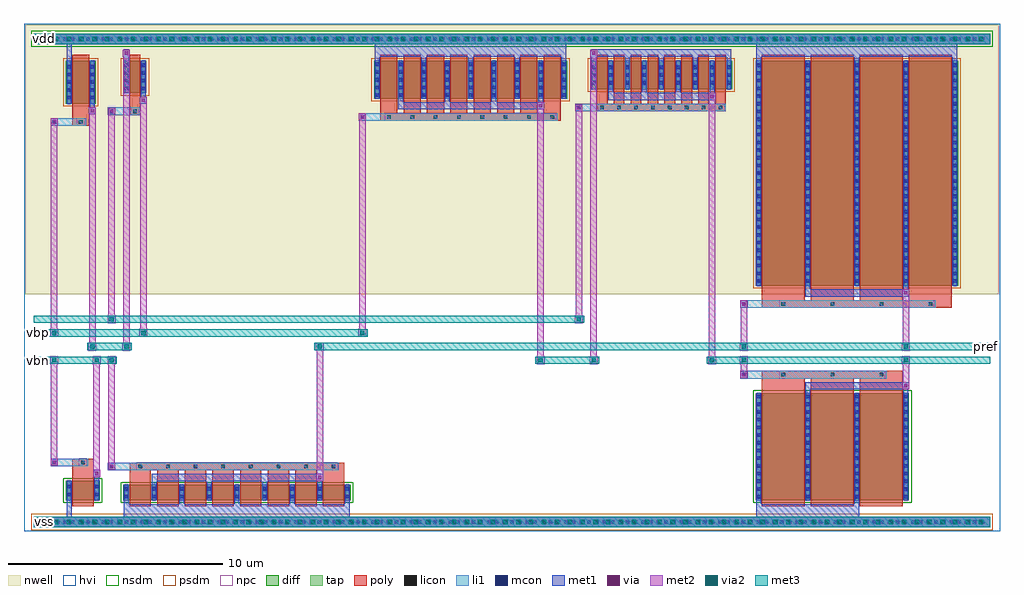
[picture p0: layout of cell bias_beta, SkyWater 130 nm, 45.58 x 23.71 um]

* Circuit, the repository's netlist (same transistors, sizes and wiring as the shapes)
.subckt bias_beta vbn vbp vbpc pref nref vdd vss
MXBN vbn vbn vss vss nfet_g5v0d10v5 w=0.9u l=1u
MXMbn pref vbn vss vss nfet_g5v0d10v5 w=5.72u l=1u
MXMNref nref nref vss vss nfet_g5v0d10v5 w=15u l=2u
MXBP x vbp vdd vdd pfet_g5v0d10v5 w=2u l=0.8u
MXBPC vbp vbpc x vdd pfet_g5v0d10v5 w=1.5u l=0.5u
MXMbp bx vbp vdd vdd pfet_g5v0d10v5 w=14.12u l=0.8u
MXMbpc nref vbpc bx vdd pfet_g5v0d10v5 w=10.6u l=0.5u
MXMPref pref pref vdd vdd pfet_g5v0d10v5 w=42u l=2u
.ends bias_beta

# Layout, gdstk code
import gdstk
lib = gdstk.Library(unit=1e-6, precision=1e-09)
def R(c, l, rs):  # rectangles x0, y0, x1, y1
    for r in rs: c.add(gdstk.rectangle(r[:2], r[2:], *l))
def A(c, l, x, y, w, h, nx, ny, dx, dy):  # array of equal rectangles
    R(c, l, [(x+i*dx, y+j*dy, x+i*dx+w, y+j*dy+h) for i in range(nx) for j in range(ny)])
nwell = (64, 20)
diff = (65, 20)
tap = (65, 44)
poly = (66, 20)
licon = (66, 44)
li1 = (67, 20)
mcon = (67, 44)
met1 = (68, 20)
via = (68, 44)
met2 = (69, 20)
via2 = (69, 44)
met3 = (70, 20)
hvi = (75, 20)
nsdm = (93, 44)
psdm = (94, 20)
npc = (95, 20)

bias_beta_p0_xbp = lib.new_cell('bias_beta_p0_XBP')
R(bias_beta_p0_xbp, diff, [(0,0.72,1.38,2.72)])
R(bias_beta_p0_xbp, poly, [(0.29,0.435,1.09,3.005), (0.29,2.72,1.09,3.58), (0.29,3.4,1.09,3.76)])
A(bias_beta_p0_xbp, licon, 0.06, 0.915, 0.17, 0.17, 1, 5, 0, 0.36)
A(bias_beta_p0_xbp, licon, 1.15, 0.915, 0.17, 0.17, 1, 5, 0, 0.36)
R(bias_beta_p0_xbp, licon, [(0.605,3.495,0.775,3.665)])
R(bias_beta_p0_xbp, li1, [(0.06,0.7,0.23,2.74), (1.15,0.7,1.32,2.74), (0.44,3.4,0.94,3.76)])
A(bias_beta_p0_xbp, mcon, 0.06, 0.915, 0.17, 0.17, 1, 5, 0, 0.36)
A(bias_beta_p0_xbp, mcon, 1.15, 0.915, 0.17, 0.17, 1, 5, 0, 0.36)
R(bias_beta_p0_xbp, met1, [(0.03,0.19,0.26,0.72), (0.03,0.19,0.26,0.53), (0.03,0.72,0.26,2.72), (1.12,0.72,1.35,2.72), (1.12,2.72,1.35,3.23), (1.12,2.89,1.35,3.23)])
R(bias_beta_p0_xbp, psdm, [(-0.125,0.595,1.505,2.845)])
R(bias_beta_p0_xbp, npc, [(0.505,3.395,0.875,3.765)])

bias_beta_p1_xbpc = lib.new_cell('bias_beta_p1_XBPC')
R(bias_beta_p1_xbpc, diff, [(0,0.72,1.08,2.22)])
R(bias_beta_p1_xbpc, poly, [(0.29,0.435,0.79,2.505), (0.29,2.22,0.79,3.08), (0.29,2.9,0.79,3.26)])
A(bias_beta_p1_xbpc, licon, 0.06, 0.845, 0.17, 0.17, 1, 4, 0, 0.36)
A(bias_beta_p1_xbpc, licon, 0.85, 0.845, 0.17, 0.17, 1, 4, 0, 0.36)
R(bias_beta_p1_xbpc, licon, [(0.455,2.995,0.625,3.165)])
R(bias_beta_p1_xbpc, li1, [(0.06,0.7,0.23,2.24), (0.85,0.7,1.02,2.24), (0.29,2.9,0.79,3.26)])
A(bias_beta_p1_xbpc, mcon, 0.06, 0.845, 0.17, 0.17, 1, 4, 0, 0.36)
A(bias_beta_p1_xbpc, mcon, 0.85, 0.845, 0.17, 0.17, 1, 4, 0, 0.36)
R(bias_beta_p1_xbpc, met1, [(0.03,0.19,0.26,0.72), (0.03,0.19,0.26,0.53), (0.03,0.72,0.26,2.22), (0.82,0.72,1.05,2.22), (0.82,2.22,1.05,2.73), (0.82,2.39,1.05,2.73)])
R(bias_beta_p1_xbpc, psdm, [(-0.125,0.595,1.205,2.345)])
R(bias_beta_p1_xbpc, npc, [(0.355,2.895,0.725,3.265)])

bias_beta_p2_xmbp = lib.new_cell('bias_beta_p2_XMbp')
R(bias_beta_p2_xmbp, diff, [(0,0.72,9.01,2.485)])
A(bias_beta_p2_xmbp, poly, 0.29, 0.435, 0.8, 2.335, 8, 1, 1.09, 0)
A(bias_beta_p2_xmbp, poly, 0.29, 2.485, 0.8, 0.86, 8, 1, 1.09, 0)
R(bias_beta_p2_xmbp, poly, [(0.29,3.165,8.72,3.525)])
A(bias_beta_p2_xmbp, licon, 0.06, 0.8, 0.17, 0.17, 9, 5, 1.09, 0.36)
A(bias_beta_p2_xmbp, licon, 0.605, 3.26, 0.17, 0.17, 8, 1, 1.09, 0)
A(bias_beta_p2_xmbp, li1, 0.06, 0.7, 0.17, 1.805, 9, 1, 1.09, 0)
R(bias_beta_p2_xmbp, li1, [(0.44,3.165,8.57,3.525)])
A(bias_beta_p2_xmbp, mcon, 0.06, 0.8, 0.17, 0.17, 9, 5, 1.09, 0.36)
A(bias_beta_p2_xmbp, met1, 0.03, 0.19, 0.23, 0.53, 5, 1, 2.18, 0)
A(bias_beta_p2_xmbp, met1, 0.03, 0.72, 0.23, 1.765, 9, 1, 1.09, 0)
A(bias_beta_p2_xmbp, met1, 1.12, 2.485, 0.23, 0.51, 4, 1, 2.18, 0)
R(bias_beta_p2_xmbp, met1, [(0.03,0.19,8.98,0.53), (1.12,2.655,7.89,2.995)])
R(bias_beta_p2_xmbp, psdm, [(-0.125,0.595,9.135,2.61)])
R(bias_beta_p2_xmbp, npc, [(0.505,3.16,8.505,3.53)])

bias_beta_p3_xmbpc = lib.new_cell('bias_beta_p3_XMbpc')
R(bias_beta_p3_xmbpc, diff, [(0,0.72,6.61,2.045)])
A(bias_beta_p3_xmbpc, poly, 0.29, 0.435, 0.5, 1.895, 8, 1, 0.79, 0)
A(bias_beta_p3_xmbpc, poly, 0.29, 2.045, 0.5, 0.86, 8, 1, 0.79, 0)
R(bias_beta_p3_xmbpc, poly, [(0.29,2.725,6.32,3.085)])
A(bias_beta_p3_xmbpc, licon, 0.06, 0.94, 0.17, 0.17, 9, 3, 0.79, 0.36)
A(bias_beta_p3_xmbpc, licon, 0.455, 2.82, 0.17, 0.17, 8, 1, 0.79, 0)
A(bias_beta_p3_xmbpc, li1, 0.06, 0.7, 0.17, 1.365, 9, 1, 0.79, 0)
R(bias_beta_p3_xmbpc, li1, [(0.29,2.725,6.32,3.085)])
A(bias_beta_p3_xmbpc, mcon, 0.06, 0.94, 0.17, 0.17, 9, 3, 0.79, 0.36)
A(bias_beta_p3_xmbpc, met1, 0.03, 0.19, 0.23, 0.53, 5, 1, 1.58, 0)
A(bias_beta_p3_xmbpc, met1, 0.03, 0.72, 0.23, 1.325, 9, 1, 0.79, 0)
A(bias_beta_p3_xmbpc, met1, 0.82, 2.045, 0.23, 0.51, 4, 1, 1.58, 0)
R(bias_beta_p3_xmbpc, met1, [(0.03,0.19,6.58,0.53), (0.82,2.215,5.79,2.555)])
R(bias_beta_p3_xmbpc, psdm, [(-0.125,0.595,6.735,2.17)])
R(bias_beta_p3_xmbpc, npc, [(0.355,2.72,6.255,3.09)])

bias_beta_p4_xmpref = lib.new_cell('bias_beta_p4_XMPref')
R(bias_beta_p4_xmpref, diff, [(0,0.72,9.45,11.22)])
A(bias_beta_p4_xmpref, poly, 0.29, 0.435, 2, 11.07, 4, 1, 2.29, 0)
A(bias_beta_p4_xmpref, poly, 0.29, 11.22, 2, 0.86, 4, 1, 2.29, 0)
R(bias_beta_p4_xmpref, poly, [(0.29,11.9,9.16,12.26)])
A(bias_beta_p4_xmpref, licon, 0.06, 0.845, 0.17, 0.17, 5, 29, 2.29, 0.36)
A(bias_beta_p4_xmpref, licon, 1.205, 11.995, 0.17, 0.17, 4, 1, 2.29, 0)
A(bias_beta_p4_xmpref, li1, 0.06, 0.7, 0.17, 10.54, 5, 1, 2.29, 0)
R(bias_beta_p4_xmpref, li1, [(1.04,11.9,8.41,12.26)])
A(bias_beta_p4_xmpref, mcon, 0.06, 0.845, 0.17, 0.17, 5, 29, 2.29, 0.36)
A(bias_beta_p4_xmpref, met1, 0.03, 0.19, 0.23, 0.53, 3, 1, 4.58, 0)
A(bias_beta_p4_xmpref, met1, 0.03, 0.72, 0.23, 10.5, 5, 1, 2.29, 0)
R(bias_beta_p4_xmpref, met1, [(0.03,0.19,9.42,0.53), (2.32,11.22,2.55,11.73), (6.9,11.22,7.13,11.73), (2.32,11.39,7.13,11.73)])
R(bias_beta_p4_xmpref, psdm, [(-0.125,0.595,9.575,11.345)])
R(bias_beta_p4_xmpref, npc, [(1.105,11.895,8.345,12.265)])

bias_beta = lib.new_cell('bias_beta')
R(bias_beta, nwell, [(0.06,11.075,45.52,23.645)])
R(bias_beta, diff, [(1.96,1.455,3.54,2.355), (4.64,1.455,15.25,2.17), (34.17,1.455,41.33,6.455)])
R(bias_beta, tap, [(0.46,0.185,45.12,0.685), (0.46,22.745,45.12,23.245)])
A(bias_beta, poly, 4.93, 1.17, 1, 1.285, 8, 1, 1.29, 0)
A(bias_beta, poly, 34.46, 1.17, 2, 5.57, 3, 1, 2.29, 0)
A(bias_beta, poly, 4.93, 2.17, 1, 0.86, 8, 1, 1.29, 0)
A(bias_beta, poly, 34.46, 6.455, 2, 0.86, 3, 1, 2.29, 0)
R(bias_beta, poly, [(2.25,1.17,3.25,2.64), (2.25,2.355,3.25,3.215), (4.93,2.85,14.96,3.21), (2.25,3.035,3.25,3.395), (34.46,7.135,41.04,7.495)])
A(bias_beta, licon, 0.745, 0.35, 0.17, 0.17, 123, 2, 0.36, 22.56)
A(bias_beta, licon, 34.23, 1.53, 0.17, 0.17, 4, 14, 2.29, 0.36)
A(bias_beta, licon, 4.7, 1.545, 0.17, 0.17, 9, 2, 1.29, 0.36)
A(bias_beta, licon, 5.345, 2.945, 0.17, 0.17, 8, 1, 1.29, 0)
A(bias_beta, licon, 35.375, 7.23, 0.17, 0.17, 3, 1, 2.29, 0)
R(bias_beta, licon, [(2.02,1.64,2.19,1.81), (3.31,1.64,3.48,1.81), (2.02,2,2.19,2.17), (3.31,2,3.48,2.17), (2.665,3.13,2.835,3.3)])
A(bias_beta, li1, 4.7, 1.435, 0.17, 0.755, 9, 1, 1.29, 0)
A(bias_beta, li1, 34.23, 1.435, 0.17, 5.04, 4, 1, 2.29, 0)
R(bias_beta, li1, [(0.46,0.185,45.12,0.685), (2.02,1.435,2.19,2.375), (3.31,1.435,3.48,2.375), (3.92,2.85,5.43,3.21), (5.18,2.85,14.71,3.21), (1.24,3.035,2.75,3.395), (2.5,3.035,3,3.395), (33.45,7.135,35.46,7.495), (35.21,7.135,40.29,7.495), (33.45,10.435,35.46,10.795), (1.24,18.935,2.65,19.295), (15.63,19.17,17.04,19.53), (3.92,19.435,5.18,19.795), (25.74,19.61,27,19.97), (0.46,22.745,45.12,23.245)])
A(bias_beta, mcon, 0.745, 0.35, 0.17, 0.17, 123, 2, 0.36, 22.56)
A(bias_beta, mcon, 34.23, 1.53, 0.17, 0.17, 4, 14, 2.29, 0.36)
A(bias_beta, mcon, 4.7, 1.545, 0.17, 0.17, 9, 2, 1.29, 0.36)
R(bias_beta, mcon, [(2.02,1.64,2.19,1.81), (3.31,1.64,3.48,1.81), (2.02,2,2.19,2.17), (3.31,2,3.48,2.17), (4.005,2.945,4.175,3.115), (1.325,3.13,1.495,3.3), (33.535,7.23,33.705,7.4), (33.535,10.53,33.705,10.7), (1.325,19.03,1.495,19.2), (15.715,19.265,15.885,19.435), (4.005,19.53,4.175,19.7), (25.825,19.705,25.995,19.875)])
A(bias_beta, met1, 4.67, 0.925, 0.23, 0.53, 5, 1, 2.58, 0)
A(bias_beta, met1, 4.67, 1.455, 0.23, 0.715, 9, 1, 1.29, 0)
A(bias_beta, met1, 34.2, 1.455, 0.23, 5, 4, 1, 2.29, 0)
A(bias_beta, met1, 5.96, 2.17, 0.23, 0.51, 4, 1, 2.58, 0)
R(bias_beta, met1, [(0.46,0.185,45.12,0.685), (1.99,0.435,2.22,1.095), (4.67,0.435,15.22,1.095), (34.2,0.435,39.01,1.095), (1.99,0.925,2.22,1.455), (1.99,0.925,2.22,1.265), (4.67,0.925,15.22,1.265), (34.2,0.925,34.43,1.455), (34.2,0.925,39.01,1.265), (38.78,0.925,39.01,1.455), (1.99,1.455,2.22,2.355), (3.28,1.455,3.51,2.355), (5.96,2.34,13.93,2.68), (13.65,2.345,13.98,2.675), (3.28,2.355,3.51,2.865), (3.28,2.525,3.51,2.865), (3.23,2.53,3.56,2.86), (3.92,2.86,4.26,3.2), (1.24,3.045,1.58,3.385), (36.49,6.455,36.72,6.965), (41.07,6.455,41.3,6.965), (36.49,6.625,41.3,6.965), (41.02,6.63,41.35,6.96), (33.45,7.145,33.79,7.485), (33.45,10.445,33.79,10.785), (41.02,10.97,41.35,11.3), (1.24,18.945,1.58,19.285), (15.63,19.18,15.97,19.52), (3.92,19.445,4.26,19.785), (3.03,19.47,3.36,19.8), (25.74,19.62,26.08,19.96), (23.96,19.705,24.29,20.035), (5.41,19.97,5.74,20.3), (31.97,20.145,32.3,20.475), (4.62,22.17,4.95,22.5), (26.44,22.17,26.77,22.5), (1.99,22.335,2.22,22.995), (16.38,22.335,25.33,22.995), (34.2,22.335,43.59,22.995), (0.46,22.745,45.12,23.245)])
A(bias_beta, via, 0.815, 0.36, 0.15, 0.15, 74, 2, 0.6, 22.56)
R(bias_beta, via, [(13.74,2.435,13.89,2.585), (3.32,2.62,3.47,2.77), (4.015,2.955,4.165,3.105), (1.335,3.14,1.485,3.29), (41.11,6.72,41.26,6.87), (33.545,7.24,33.695,7.39), (33.545,10.54,33.695,10.69), (41.11,11.06,41.26,11.21), (1.335,19.04,1.485,19.19), (15.725,19.275,15.875,19.425), (4.015,19.54,4.165,19.69), (3.12,19.56,3.27,19.71), (25.835,19.715,25.985,19.865), (24.05,19.795,24.2,19.945), (5.5,20.06,5.65,20.21), (32.06,20.235,32.21,20.385), (4.71,22.26,4.86,22.41), (26.53,22.26,26.68,22.41)])
R(bias_beta, met2, [(0.46,0.185,45.12,0.685), (13.65,2.345,13.98,2.675), (13.665,2.51,13.965,8.625), (3.23,2.53,3.56,2.86), (3.245,2.695,3.545,7.985), (3.925,2.865,4.255,3.195), (3.94,3.03,4.24,7.985), (1.245,3.05,1.575,3.38), (1.26,3.215,1.56,7.985), (41.02,6.63,41.35,6.96), (41.035,6.795,41.335,7.985), (33.455,7.15,33.785,7.48), (33.47,7.315,33.77,7.985), (1.225,7.8,1.595,8.17), (3.21,7.8,3.58,8.17), (3.905,7.8,4.275,8.17), (23.94,7.8,24.31,8.17), (26.42,7.8,26.79,8.17), (31.95,7.8,32.32,8.17), (33.435,7.8,33.805,8.17), (41,7.8,41.37,8.17), (23.975,7.985,24.275,19.87), (26.455,7.985,26.755,22.335), (31.985,7.985,32.285,20.31), (3.01,8.44,3.38,8.81), (4.6,8.44,4.97,8.81), (13.63,8.44,14,8.81), (33.435,8.44,33.805,8.81), (41,8.44,41.37,8.81), (3.045,8.625,3.345,19.635), (4.635,8.625,4.935,22.335), (33.47,8.625,33.77,10.615), (41.035,8.625,41.335,11.135), (1.225,9.08,1.595,9.45), (5.39,9.08,5.76,9.45), (15.615,9.08,15.985,9.45), (1.26,9.265,1.56,19.115), (5.425,9.265,5.725,20.135), (15.65,9.265,15.95,19.35), (3.905,9.72,4.275,10.09), (25.725,9.72,26.095,10.09), (3.94,9.905,4.24,19.615), (25.76,9.905,26.06,19.79), (33.455,10.45,33.785,10.78), (41.02,10.97,41.35,11.3), (1.245,18.95,1.575,19.28), (15.635,19.185,15.965,19.515), (3.925,19.45,4.255,19.78), (3.03,19.47,3.36,19.8), (25.745,19.625,26.075,19.955), (23.96,19.705,24.29,20.035), (5.41,19.97,5.74,20.3), (31.97,20.145,32.3,20.475), (4.62,22.17,4.95,22.5), (26.44,22.17,26.77,22.5), (0.46,22.745,45.12,23.245)])
A(bias_beta, via2, 0.79, 0.335, 0.2, 0.2, 74, 2, 0.6, 22.56)
R(bias_beta, via2, [(1.31,7.885,1.51,8.085), (3.295,7.885,3.495,8.085), (3.99,7.885,4.19,8.085), (24.025,7.885,24.225,8.085), (26.505,7.885,26.705,8.085), (32.035,7.885,32.235,8.085), (33.52,7.885,33.72,8.085), (41.085,7.885,41.285,8.085), (3.095,8.525,3.295,8.725), (4.685,8.525,4.885,8.725), (13.715,8.525,13.915,8.725), (33.52,8.525,33.72,8.725), (41.085,8.525,41.285,8.725), (1.31,9.165,1.51,9.365), (5.475,9.165,5.675,9.365), (15.7,9.165,15.9,9.365), (3.99,9.805,4.19,10.005), (25.81,9.805,26.01,10.005)])
R(bias_beta, met3, [(0.46,0.185,45.12,0.685), (0.46,7.815,4.34,8.155), (23.875,7.815,26.855,8.155), (31.885,7.815,45.12,8.155), (2.945,8.455,5.035,8.795), (13.565,8.455,45.12,8.795), (0.46,9.095,16.05,9.435), (0.46,9.735,26.16,10.075), (0.46,22.745,45.12,23.245)])
R(bias_beta, hvi, [(0,0,45.58,23.705)])
R(bias_beta, nsdm, [(1.835,1.33,3.665,2.48), (4.515,1.33,15.375,2.295), (34.045,1.33,41.455,6.58), (0.335,22.62,45.245,23.37)])
R(bias_beta, psdm, [(0.335,0.06,45.245,0.81)])
R(bias_beta, npc, [(5.245,2.845,14.645,3.215), (2.565,3.03,2.935,3.4), (35.275,7.13,40.225,7.5)])
bias_beta.add(gdstk.Reference(bias_beta_p0_xbp, (1.96,22.695), x_reflection=True))
bias_beta.add(gdstk.Reference(bias_beta_p1_xbpc, (4.64,22.695), x_reflection=True))
bias_beta.add(gdstk.Reference(bias_beta_p2_xmbp, (16.35,22.695), x_reflection=True))
bias_beta.add(gdstk.Reference(bias_beta_p3_xmbpc, (26.46,22.695), x_reflection=True))
bias_beta.add(gdstk.Reference(bias_beta_p4_xmpref, (34.17,22.695), x_reflection=True))
bias_beta.add(gdstk.Label('vbn', (0.66,7.985), layer=70, texttype=5))
bias_beta.add(gdstk.Label('vbp', (0.66,9.265), layer=70, texttype=5))
bias_beta.add(gdstk.Label('vbpc', (0.66,9.905), layer=70, texttype=5))
bias_beta.add(gdstk.Label('pref', (44.92,8.625), layer=70, texttype=5))
bias_beta.add(gdstk.Label('nref', (44.92,7.985), layer=70, texttype=5))
bias_beta.add(gdstk.Label('vss', (0.96,0.435), layer=70, texttype=5))
bias_beta.add(gdstk.Label('vdd', (0.96,22.995), layer=70, texttype=5))

lib.write_gds('bias_beta.gds')
